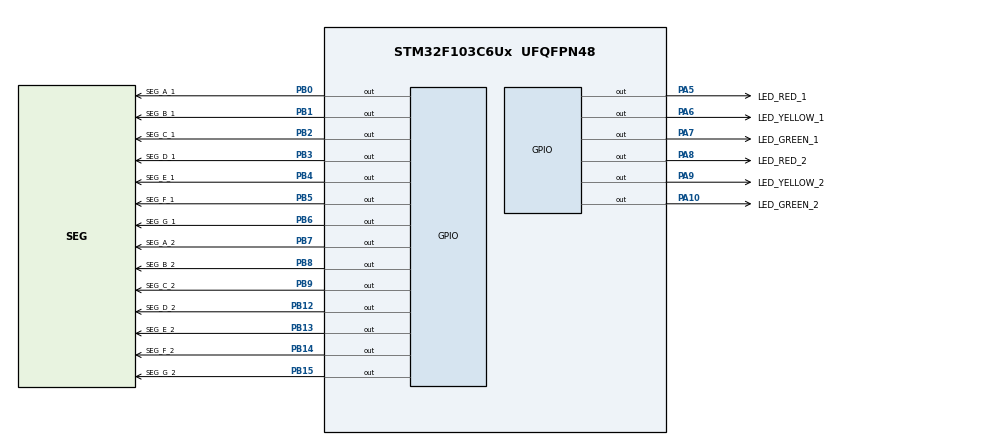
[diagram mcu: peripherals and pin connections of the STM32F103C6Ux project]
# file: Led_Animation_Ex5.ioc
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Mcu.Family=STM32F1
Mcu.Name=STM32F103C6Ux
Mcu.Package=UFQFPN48
NVIC.PriorityGroup=NVIC_PRIORITYGROUP_4
PA10.GPIO_Label=LED_GREEN_2
PA10.Signal=GPIO_Output
PA5.GPIO_Label=LED_RED_1
PA5.Signal=GPIO_Output
PA6.GPIO_Label=LED_YELLOW_1
PA6.Signal=GPIO_Output
PA7.GPIO_Label=LED_GREEN_1
PA7.Signal=GPIO_Output
PA8.GPIO_Label=LED_RED_2
PA8.Signal=GPIO_Output
PA9.GPIO_Label=LED_YELLOW_2
PA9.Signal=GPIO_Output
PB0.GPIO_Label=SEG_A_1
PB0.Signal=GPIO_Output
PB1.GPIO_Label=SEG_B_1
PB1.Signal=GPIO_Output
PB12.GPIO_Label=SEG_D_2
PB12.Signal=GPIO_Output
PB13.GPIO_Label=SEG_E_2
PB13.Signal=GPIO_Output
PB14.GPIO_Label=SEG_F_2
PB14.Signal=GPIO_Output
PB15.GPIO_Label=SEG_G_2
PB15.Signal=GPIO_Output
PB2.GPIO_Label=SEG_C_1
PB2.Signal=GPIO_Output
PB3.GPIO_Label=SEG_D_1
PB3.Signal=GPIO_Output
PB4.GPIO_Label=SEG_E_1
PB4.Signal=GPIO_Output
PB5.GPIO_Label=SEG_F_1
PB5.Signal=GPIO_Output
PB6.GPIO_Label=SEG_G_1
PB6.Signal=GPIO_Output
PB7.GPIO_Label=SEG_A_2
PB7.Signal=GPIO_Output
PB8.GPIO_Label=SEG_B_2
PB8.Signal=GPIO_Output
PB9.GPIO_Label=SEG_C_2
PB9.Signal=GPIO_Output
ProjectManager.HeapSize=0x200
ProjectManager.StackSize=0x400
ProjectManager.TargetToolchain=STM32CubeIDE
RCC.APB1Freq_Value=8000000
RCC.APB2Freq_Value=8000000
VP_SYS_VS_ND.Mode=No_Debug
board=custom

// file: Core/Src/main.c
/* USER CODE BEGIN Header */
/**
  ******************************************************************************
  * @file           : main.c
  * @brief          : Main program body
  ******************************************************************************
  * @attention
  *
  * <h2><center>&copy; Copyright (c) 2025 STMicroelectronics.
  * All rights reserved.</center></h2>
  *
  * This software component is licensed by ST under BSD 3-Clause license,
  * the "License"; You may not use this file except in compliance with the
  * License. You may obtain a copy of the License at:
  *                        opensource.org/licenses/BSD-3-Clause
  *
  ******************************************************************************
  */
/* USER CODE END Header */
#include "main.h"

/* USER CODE BEGIN PV */
uint16_t counter1 = 0;
uint16_t counter2 = 0;

uint8_t state1 = 0;
uint8_t state2 = 0;
/* USER CODE END PV */

void SystemClock_Config(void);
static void MX_GPIO_Init(void);

/* USER CODE BEGIN 0 */
void display7SEG(uint8_t counter, uint16_t SEG_A, uint16_t SEG_B, uint16_t SEG_C,
		uint16_t SEG_D, uint16_t SEG_E, uint16_t SEG_F, uint16_t SEG_G, GPIO_TypeDef * GPIOx){
	// The first condition -> Turn on LED
	// Config SEG A
	if(counter != 1 && counter != 4){
		HAL_GPIO_WritePin(GPIOx, SEG_A, GPIO_PIN_RESET);
	}
	else HAL_GPIO_WritePin(GPIOx, SEG_A, GPIO_PIN_SET);

	// Config SEG B
	if(counter != 5 && counter != 6){
		HAL_GPIO_WritePin(GPIOx, SEG_B, GPIO_PIN_RESET);
	}
	else HAL_GPIO_WritePin(GPIOx, SEG_B, GPIO_PIN_SET);

	// Config SEG C
	if(counter != 2){
		HAL_GPIO_WritePin(GPIOx, SEG_C, GPIO_PIN_RESET);
	}
	else HAL_GPIO_WritePin(GPIOx, SEG_C, GPIO_PIN_SET);

	// Config SEG D
	if(counter != 1 && counter != 4 && counter != 7){
		HAL_GPIO_WritePin(GPIOx, SEG_D, GPIO_PIN_RESET);
	}
	else HAL_GPIO_WritePin(GPIOx, SEG_D, GPIO_PIN_SET);

	// Config SEG E
	if(counter == 0 || counter == 2 || counter == 6 || counter == 8){
		HAL_GPIO_WritePin(GPIOx, SEG_E, GPIO_PIN_RESET);
	}
	else HAL_GPIO_WritePin(GPIOx, SEG_E, GPIO_PIN_SET);

	// Config SEG F
	if(counter != 1 && counter != 2 && counter != 3 && counter != 7){
		HAL_GPIO_WritePin(GPIOx, SEG_F, GPIO_PIN_RESET);
	}
	else HAL_GPIO_WritePin(GPIOx, SEG_F, GPIO_PIN_SET);

	// Config SEG G
	if(counter != 0 && counter != 1 && counter != 7){
		HAL_GPIO_WritePin(GPIOx, SEG_G, GPIO_PIN_RESET);
	}
	else HAL_GPIO_WritePin(GPIOx, SEG_G, GPIO_PIN_SET);
}
/* USER CODE END 0 */

int main(void)
{

  /* MCU Configuration--------------------------------------------------------*/

  /* Reset of all peripherals, Initializes the Flash interface and the Systick. */
  HAL_Init();

  /* Configure the system clock */
  SystemClock_Config();

  /* Initialize all configured peripherals */
  MX_GPIO_Init();

  /* Infinite loop */
  /* USER CODE BEGIN WHILE */
  while (1)
  {
	  // Implement Cycle of LED
	  	  	  if(counter1 <= 0 && state1 == 0){
	  	  		  HAL_GPIO_WritePin(GPIOA, LED_RED_1_Pin, GPIO_PIN_RESET);
	  	  		  HAL_GPIO_WritePin(GPIOA, LED_YELLOW_1_Pin, GPIO_PIN_SET);
	  	  		  HAL_GPIO_WritePin(GPIOA, LED_GREEN_1_Pin, GPIO_PIN_SET);
	  	  		  counter1 = 500;
	  	  		  state1 = 1;
	  	  	  }
	  	  	  if(counter1 <= 0 && state1 == 1){
	  	  		  HAL_GPIO_WritePin(GPIOA, LED_GREEN_1_Pin, GPIO_PIN_RESET);
	  	  		  HAL_GPIO_WritePin(GPIOA, LED_YELLOW_1_Pin, GPIO_PIN_SET);
	  	  		  HAL_GPIO_WritePin(GPIOA, LED_RED_1_Pin, GPIO_PIN_SET);
	  	  		  counter1 = 300;
	  	  		  state1 = 2;
	  	  	  }
	  	  	  if(counter1 <= 0 && state1 == 2){
	  	  		  HAL_GPIO_WritePin(GPIOA, LED_YELLOW_1_Pin, GPIO_PIN_RESET);
	  	  		  HAL_GPIO_WritePin(GPIOA, LED_GREEN_1_Pin, GPIO_PIN_SET);
	  	  		  HAL_GPIO_WritePin(GPIOA, LED_RED_1_Pin, GPIO_PIN_SET);
	  	  		  counter1 = 200;
	  	  		  state1 = 0;
	  	  	  }

	  	  	  if(counter2 <= 0 && state2 == 2){
	  	  		  HAL_GPIO_WritePin(GPIOA, LED_RED_2_Pin, GPIO_PIN_RESET);
	  	  		  HAL_GPIO_WritePin(GPIOA, LED_YELLOW_2_Pin, GPIO_PIN_SET);
	  	  		  HAL_GPIO_WritePin(GPIOA, LED_GREEN_2_Pin, GPIO_PIN_SET);
	  	  		  counter2 = 500;
	  	  		  state2 = 0;
	  	  		 }
	  	  	  if(counter2 <= 0 && state2 == 0){
	  	  		  HAL_GPIO_WritePin(GPIOA, LED_GREEN_2_Pin, GPIO_PIN_RESET);
	  	  		  HAL_GPIO_WritePin(GPIOA, LED_YELLOW_2_Pin, GPIO_PIN_SET);
	  	  		  HAL_GPIO_WritePin(GPIOA, LED_RED_2_Pin, GPIO_PIN_SET);
	  	  		  counter2 = 300;
	  	  		  state2 = 1;
	  	  	  }
	  	  	  if(counter2 <= 0 && state2 == 1){
	  	  		  HAL_GPIO_WritePin(GPIOA, LED_YELLOW_2_Pin, GPIO_PIN_RESET);
	  	  		  HAL_GPIO_WritePin(GPIOA, LED_GREEN_2_Pin, GPIO_PIN_SET);
	  	  		  HAL_GPIO_WritePin(GPIOA, LED_RED_2_Pin, GPIO_PIN_SET);
	  	  		  counter2 = 200;
	  	  		  state2 = 2;
	  	  	  }

  	  // Display counter
  	  if(counter1 % 100 == 0 || counter2 % 100 == 0){
		  display7SEG(counter1/100, SEG_A_1_Pin, SEG_B_1_Pin, SEG_C_1_Pin,
				  SEG_D_1_Pin,SEG_E_1_Pin, SEG_F_1_Pin, SEG_G_1_Pin, GPIOB);
		  display7SEG(counter2/100, SEG_A_2_Pin, SEG_B_2_Pin, SEG_C_2_Pin,
				  SEG_D_2_Pin,SEG_E_2_Pin, SEG_F_2_Pin, SEG_G_2_Pin, GPIOB);
  	  }
  	  // Implement Timer
  	  HAL_Delay(10);
  	  --counter1;
  	  --counter2;
    /* USER CODE END WHILE */

  }
}

void SystemClock_Config(void)
{
  RCC_OscInitTypeDef RCC_OscInitStruct = {0};
  RCC_ClkInitTypeDef RCC_ClkInitStruct = {0};

  /** Initializes the RCC Oscillators according to the specified parameters
  * in the RCC_OscInitTypeDef structure.
  */
  RCC_OscInitStruct.OscillatorType = RCC_OSCILLATORTYPE_HSI;
  RCC_OscInitStruct.HSIState = RCC_HSI_ON;
  RCC_OscInitStruct.HSICalibrationValue = RCC_HSICALIBRATION_DEFAULT;
  RCC_OscInitStruct.PLL.PLLState = RCC_PLL_NONE;
  if (HAL_RCC_OscConfig(&RCC_OscInitStruct) != HAL_OK)
  {
    Error_Handler();
  }
  /** Initializes the CPU, AHB and APB buses clocks
  */
  RCC_ClkInitStruct.ClockType = RCC_CLOCKTYPE_HCLK|RCC_CLOCKTYPE_SYSCLK
                              |RCC_CLOCKTYPE_PCLK1|RCC_CLOCKTYPE_PCLK2;
  RCC_ClkInitStruct.SYSCLKSource = RCC_SYSCLKSOURCE_HSI;
  RCC_ClkInitStruct.AHBCLKDivider = RCC_SYSCLK_DIV1;
  RCC_ClkInitStruct.APB1CLKDivider = RCC_HCLK_DIV1;
  RCC_ClkInitStruct.APB2CLKDivider = RCC_HCLK_DIV1;

  if (HAL_RCC_ClockConfig(&RCC_ClkInitStruct, FLASH_LATENCY_0) != HAL_OK)
  {
    Error_Handler();
  }
}

static void MX_GPIO_Init(void)
{
  GPIO_InitTypeDef GPIO_InitStruct = {0};

  /* GPIO Ports Clock Enable */
  __HAL_RCC_GPIOA_CLK_ENABLE();
  __HAL_RCC_GPIOB_CLK_ENABLE();

  /*Configure GPIO pin Output Level */
  HAL_GPIO_WritePin(GPIOA, LED_RED_1_Pin|LED_YELLOW_1_Pin|LED_GREEN_1_Pin|LED_RED_2_Pin
                          |LED_YELLOW_2_Pin|LED_GREEN_2_Pin, GPIO_PIN_RESET);

  /*Configure GPIO pin Output Level */
  HAL_GPIO_WritePin(GPIOB, SEG_A_1_Pin|SEG_B_1_Pin|SEG_C_1_Pin|SEG_D_2_Pin
                          |SEG_E_2_Pin|SEG_F_2_Pin|SEG_G_2_Pin|SEG_D_1_Pin
                          |SEG_E_1_Pin|SEG_F_1_Pin|SEG_G_1_Pin|SEG_A_2_Pin
                          |SEG_B_2_Pin|SEG_C_2_Pin, GPIO_PIN_RESET);

  /*Configure GPIO pins : LED_RED_1_Pin LED_YELLOW_1_Pin LED_GREEN_1_Pin LED_RED_2_Pin
                           LED_YELLOW_2_Pin LED_GREEN_2_Pin */
  GPIO_InitStruct.Pin = LED_RED_1_Pin|LED_YELLOW_1_Pin|LED_GREEN_1_Pin|LED_RED_2_Pin
                          |LED_YELLOW_2_Pin|LED_GREEN_2_Pin;
  GPIO_InitStruct.Mode = GPIO_MODE_OUTPUT_PP;
  GPIO_InitStruct.Pull = GPIO_NOPULL;
  GPIO_InitStruct.Speed = GPIO_SPEED_FREQ_LOW;
  HAL_GPIO_Init(GPIOA, &GPIO_InitStruct);

  /*Configure GPIO pins : SEG_A_1_Pin SEG_B_1_Pin SEG_C_1_Pin SEG_D_2_Pin
                           SEG_E_2_Pin SEG_F_2_Pin SEG_G_2_Pin SEG_D_1_Pin
                           SEG_E_1_Pin SEG_F_1_Pin SEG_G_1_Pin SEG_A_2_Pin
                           SEG_B_2_Pin SEG_C_2_Pin */
  GPIO_InitStruct.Pin = SEG_A_1_Pin|SEG_B_1_Pin|SEG_C_1_Pin|SEG_D_2_Pin
                          |SEG_E_2_Pin|SEG_F_2_Pin|SEG_G_2_Pin|SEG_D_1_Pin
                          |SEG_E_1_Pin|SEG_F_1_Pin|SEG_G_1_Pin|SEG_A_2_Pin
                          |SEG_B_2_Pin|SEG_C_2_Pin;
  GPIO_InitStruct.Mode = GPIO_MODE_OUTPUT_PP;
  GPIO_InitStruct.Pull = GPIO_NOPULL;
  GPIO_InitStruct.Speed = GPIO_SPEED_FREQ_LOW;
  HAL_GPIO_Init(GPIOB, &GPIO_InitStruct);

}

void Error_Handler(void)
{
  __disable_irq();
  while (1)
  {
  }
}

/************************ (C) COPYRIGHT STMicroelectronics *****END OF FILE****/
